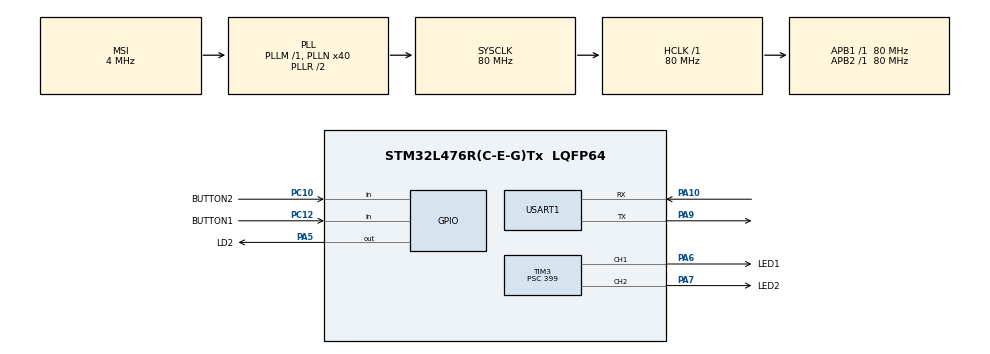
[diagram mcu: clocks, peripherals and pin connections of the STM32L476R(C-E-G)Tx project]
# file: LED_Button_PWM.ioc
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Mcu.Family=STM32L4
Mcu.Name=STM32L476R(C-E-G)Tx
Mcu.Package=LQFP64
NVIC.PriorityGroup=NVIC_PRIORITYGROUP_4
NVIC.TIM6_DAC_IRQn=true\:0\:0\:false\:false\:true\:true\:true\:true
PA10.Mode=Asynchronous
PA10.Signal=USART1_RX
PA13\ (JTMS-SWDIO).Mode=Serial_Wire
PA13\ (JTMS-SWDIO).Signal=SYS_JTMS-SWDIO
PA14\ (JTCK-SWCLK).Mode=Serial_Wire
PA14\ (JTCK-SWCLK).Signal=SYS_JTCK-SWCLK
PA5.GPIO_Label=LD2
PA5.Signal=GPIO_Output
PA6.GPIO_Label=LED1
PA6.Signal=S_TIM3_CH1
PA7.GPIO_Label=LED2
PA7.Signal=S_TIM3_CH2
PA9.Mode=Asynchronous
PA9.Signal=USART1_TX
PC10.GPIO_Label=BUTTON2
PC10.Signal=GPIO_Input
PC12.GPIO_Label=BUTTON1
PC12.Signal=GPIO_Input
ProjectManager.HeapSize=0x200
ProjectManager.StackSize=0x400
ProjectManager.TargetToolchain=STM32CubeIDE
RCC.AHBFreq_Value=80000000
RCC.APB1Freq_Value=80000000
RCC.APB1TimFreq_Value=80000000
RCC.APB2Freq_Value=80000000
RCC.APB2TimFreq_Value=80000000
RCC.CortexFreq_Value=80000000
RCC.HCLKFreq_Value=80000000
RCC.HSE_VALUE=8000000
RCC.HSI_VALUE=16000000
RCC.LSE_VALUE=32768
RCC.MSI_VALUE=4000000
RCC.PLLN=40
RCC.SYSCLKFreq_VALUE=80000000
RCC.SYSCLKSource=RCC_SYSCLKSOURCE_PLLCLK
RCC.VCOOutputFreq_Value=160000000
SH.S_TIM3_CH1.0=TIM3_CH1,PWM Generation1 CH1
SH.S_TIM3_CH2.0=TIM3_CH2,PWM Generation2 CH2
TIM3.Channel-PWM\ Generation1\ CH1=TIM_CHANNEL_1
TIM3.Channel-PWM\ Generation2\ CH2=TIM_CHANNEL_2
TIM3.Period=1332
TIM3.Prescaler=399
TIM6.Period=9999
TIM6.Prescaler=7999
USART1.VirtualMode-Asynchronous=VM_ASYNC
VP_TIM3_VS_ClockSourceINT.Mode=Internal
VP_TIM6_VS_ClockSourceINT.Mode=Enable_Timer
board=custom

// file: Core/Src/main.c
/* USER CODE BEGIN Header */
/**
  ******************************************************************************
  * @file           : main.c
  * @brief          : Main program body
  ******************************************************************************
  * @attention
  *
  * Copyright (c) 2024 STMicroelectronics.
  * All rights reserved.
  *
  * This software is licensed under terms that can be found in the LICENSE file
  * in the root directory of this software component.
  * If no LICENSE file comes with this software, it is provided AS-IS.
  *
  ******************************************************************************
  */
/* USER CODE END Header */
#include "main.h"

TIM_HandleTypeDef htim3;
TIM_HandleTypeDef htim6;

UART_HandleTypeDef huart1;

void SystemClock_Config(void);
static void MX_GPIO_Init(void);
static void MX_TIM3_Init(void);
static void MX_USART1_UART_Init(void);
static void MX_TIM6_Init(void);

/* USER CODE BEGIN 0 */

void zaswiec_dioda(int channel, int level) {
    switch (channel) {
        case 1:
            __HAL_TIM_SET_COMPARE(&htim3, TIM_CHANNEL_1, level); // zaswiec dioda (kanal 1) za pomoca PWM
            break;
        case 2:
            __HAL_TIM_SET_COMPARE(&htim3, TIM_CHANNEL_2, level); // zaswiec dioda (kanal 2) za pomoca PWM
            break;
        default:
            break;
    }
}

void HAL_TIM_PeriodElapsedCallback(TIM_HandleTypeDef *htim) // funkcja obslugujaca przerwania
{
    if (htim == &htim6) // jestli przerwanie pochodzi z timera 6 to:
    {
        // Sprawdź stan przycisków i zmień stan odpowiednich LEDów
        if (HAL_GPIO_ReadPin(BUTTON1_GPIO_Port, BUTTON1_Pin) == GPIO_PIN_RESET)
        {
            // Przycisk 1 nie jest naciśnięty
        	zaswiec_dioda(1, 0);
        }
        else
        {
            // Przycisk 1 jest naciśnięty
        	zaswiec_dioda(1, 1000); 		// wypelnienie diody na poziomie 1000
        }

        if (HAL_GPIO_ReadPin(BUTTON2_GPIO_Port, BUTTON2_Pin) == GPIO_PIN_RESET)
        {
            // Przycisk 2 nie jest naciśnięty
        	zaswiec_dioda(2, 0);
        }
        else
        {
            // Przycisk 2 jest naciśnięty
        	zaswiec_dioda(2, 50);			// wypelnienie diody na poziomie 50
        }
    }
}

/* USER CODE END 0 */

int main(void)
{

  /* MCU Configuration--------------------------------------------------------*/

  /* Reset of all peripherals, Initializes the Flash interface and the Systick. */
  HAL_Init();

  /* Configure the system clock */
  SystemClock_Config();

  /* Initialize all configured peripherals */
  MX_GPIO_Init();
  MX_TIM3_Init();
  MX_USART1_UART_Init();
  MX_TIM6_Init();
  /* USER CODE BEGIN 2 */
  HAL_TIM_Base_Start_IT(&htim3);				// start timera 3
  HAL_TIM_Base_Start_IT(&htim6);				// start timera 6
  HAL_TIM_PWM_Start(&htim3, TIM_CHANNEL_1);		// start PWM z timera 3 (kanal 1)
  HAL_TIM_PWM_Start(&htim3, TIM_CHANNEL_2);		// start PWM z timera 3 (kanal 2)
  /* USER CODE END 2 */

  /* Infinite loop */
  while (1)
  {

  }
}

void SystemClock_Config(void)
{
  RCC_OscInitTypeDef RCC_OscInitStruct = {0};
  RCC_ClkInitTypeDef RCC_ClkInitStruct = {0};

  /** Configure the main internal regulator output voltage
  */
  if (HAL_PWREx_ControlVoltageScaling(PWR_REGULATOR_VOLTAGE_SCALE1) != HAL_OK)
  {
    Error_Handler();
  }

  /** Initializes the RCC Oscillators according to the specified parameters
  * in the RCC_OscInitTypeDef structure.
  */
  RCC_OscInitStruct.OscillatorType = RCC_OSCILLATORTYPE_MSI;
  RCC_OscInitStruct.MSIState = RCC_MSI_ON;
  RCC_OscInitStruct.MSICalibrationValue = 0;
  RCC_OscInitStruct.MSIClockRange = RCC_MSIRANGE_6;
  RCC_OscInitStruct.PLL.PLLState = RCC_PLL_ON;
  RCC_OscInitStruct.PLL.PLLSource = RCC_PLLSOURCE_MSI;
  RCC_OscInitStruct.PLL.PLLM = 1;
  RCC_OscInitStruct.PLL.PLLN = 40;
  RCC_OscInitStruct.PLL.PLLP = RCC_PLLP_DIV7;
  RCC_OscInitStruct.PLL.PLLQ = RCC_PLLQ_DIV2;
  RCC_OscInitStruct.PLL.PLLR = RCC_PLLR_DIV2;
  if (HAL_RCC_OscConfig(&RCC_OscInitStruct) != HAL_OK)
  {
    Error_Handler();
  }

  /** Initializes the CPU, AHB and APB buses clocks
  */
  RCC_ClkInitStruct.ClockType = RCC_CLOCKTYPE_HCLK|RCC_CLOCKTYPE_SYSCLK
                              |RCC_CLOCKTYPE_PCLK1|RCC_CLOCKTYPE_PCLK2;
  RCC_ClkInitStruct.SYSCLKSource = RCC_SYSCLKSOURCE_PLLCLK;
  RCC_ClkInitStruct.AHBCLKDivider = RCC_SYSCLK_DIV1;
  RCC_ClkInitStruct.APB1CLKDivider = RCC_HCLK_DIV1;
  RCC_ClkInitStruct.APB2CLKDivider = RCC_HCLK_DIV1;

  if (HAL_RCC_ClockConfig(&RCC_ClkInitStruct, FLASH_LATENCY_4) != HAL_OK)
  {
    Error_Handler();
  }
}

static void MX_TIM3_Init(void)
{

  TIM_ClockConfigTypeDef sClockSourceConfig = {0};
  TIM_MasterConfigTypeDef sMasterConfig = {0};
  TIM_OC_InitTypeDef sConfigOC = {0};

  htim3.Instance = TIM3;
  htim3.Init.Prescaler = 399;
  htim3.Init.CounterMode = TIM_COUNTERMODE_UP;
  htim3.Init.Period = 1332;
  htim3.Init.ClockDivision = TIM_CLOCKDIVISION_DIV1;
  htim3.Init.AutoReloadPreload = TIM_AUTORELOAD_PRELOAD_DISABLE;
  if (HAL_TIM_Base_Init(&htim3) != HAL_OK)
  {
    Error_Handler();
  }
  sClockSourceConfig.ClockSource = TIM_CLOCKSOURCE_INTERNAL;
  if (HAL_TIM_ConfigClockSource(&htim3, &sClockSourceConfig) != HAL_OK)
  {
    Error_Handler();
  }
  if (HAL_TIM_PWM_Init(&htim3) != HAL_OK)
  {
    Error_Handler();
  }
  sMasterConfig.MasterOutputTrigger = TIM_TRGO_RESET;
  sMasterConfig.MasterSlaveMode = TIM_MASTERSLAVEMODE_DISABLE;
  if (HAL_TIMEx_MasterConfigSynchronization(&htim3, &sMasterConfig) != HAL_OK)
  {
    Error_Handler();
  }
  sConfigOC.OCMode = TIM_OCMODE_PWM1;
  sConfigOC.Pulse = 0;
  sConfigOC.OCPolarity = TIM_OCPOLARITY_HIGH;
  sConfigOC.OCFastMode = TIM_OCFAST_DISABLE;
  if (HAL_TIM_PWM_ConfigChannel(&htim3, &sConfigOC, TIM_CHANNEL_1) != HAL_OK)
  {
    Error_Handler();
  }
  if (HAL_TIM_PWM_ConfigChannel(&htim3, &sConfigOC, TIM_CHANNEL_2) != HAL_OK)
  {
    Error_Handler();
  }
  HAL_TIM_MspPostInit(&htim3);

}

static void MX_TIM6_Init(void)
{

  TIM_MasterConfigTypeDef sMasterConfig = {0};

  htim6.Instance = TIM6;
  htim6.Init.Prescaler = 7999;
  htim6.Init.CounterMode = TIM_COUNTERMODE_UP;
  htim6.Init.Period = 9999;
  htim6.Init.AutoReloadPreload = TIM_AUTORELOAD_PRELOAD_DISABLE;
  if (HAL_TIM_Base_Init(&htim6) != HAL_OK)
  {
    Error_Handler();
  }
  sMasterConfig.MasterOutputTrigger = TIM_TRGO_RESET;
  sMasterConfig.MasterSlaveMode = TIM_MASTERSLAVEMODE_DISABLE;
  if (HAL_TIMEx_MasterConfigSynchronization(&htim6, &sMasterConfig) != HAL_OK)
  {
    Error_Handler();
  }

}

static void MX_USART1_UART_Init(void)
{

  huart1.Instance = USART1;
  huart1.Init.BaudRate = 115200;
  huart1.Init.WordLength = UART_WORDLENGTH_8B;
  huart1.Init.StopBits = UART_STOPBITS_1;
  huart1.Init.Parity = UART_PARITY_NONE;
  huart1.Init.Mode = UART_MODE_TX_RX;
  huart1.Init.HwFlowCtl = UART_HWCONTROL_NONE;
  huart1.Init.OverSampling = UART_OVERSAMPLING_16;
  huart1.Init.OneBitSampling = UART_ONE_BIT_SAMPLE_DISABLE;
  huart1.AdvancedInit.AdvFeatureInit = UART_ADVFEATURE_NO_INIT;
  if (HAL_UART_Init(&huart1) != HAL_OK)
  {
    Error_Handler();
  }

}

static void MX_GPIO_Init(void)
{
  GPIO_InitTypeDef GPIO_InitStruct = {0};

  /* GPIO Ports Clock Enable */
  __HAL_RCC_GPIOA_CLK_ENABLE();
  __HAL_RCC_GPIOC_CLK_ENABLE();

  /*Configure GPIO pin Output Level */
  HAL_GPIO_WritePin(LD2_GPIO_Port, LD2_Pin, GPIO_PIN_RESET);

  /*Configure GPIO pin : LD2_Pin */
  GPIO_InitStruct.Pin = LD2_Pin;
  GPIO_InitStruct.Mode = GPIO_MODE_OUTPUT_PP;
  GPIO_InitStruct.Pull = GPIO_NOPULL;
  GPIO_InitStruct.Speed = GPIO_SPEED_FREQ_LOW;
  HAL_GPIO_Init(LD2_GPIO_Port, &GPIO_InitStruct);

  /*Configure GPIO pins : BUTTON2_Pin BUTTON1_Pin */
  GPIO_InitStruct.Pin = BUTTON2_Pin|BUTTON1_Pin;
  GPIO_InitStruct.Mode = GPIO_MODE_INPUT;
  GPIO_InitStruct.Pull = GPIO_NOPULL;
  HAL_GPIO_Init(GPIOC, &GPIO_InitStruct);

}

void Error_Handler(void)
{
  __disable_irq();
  while (1)
  {
  }
}
